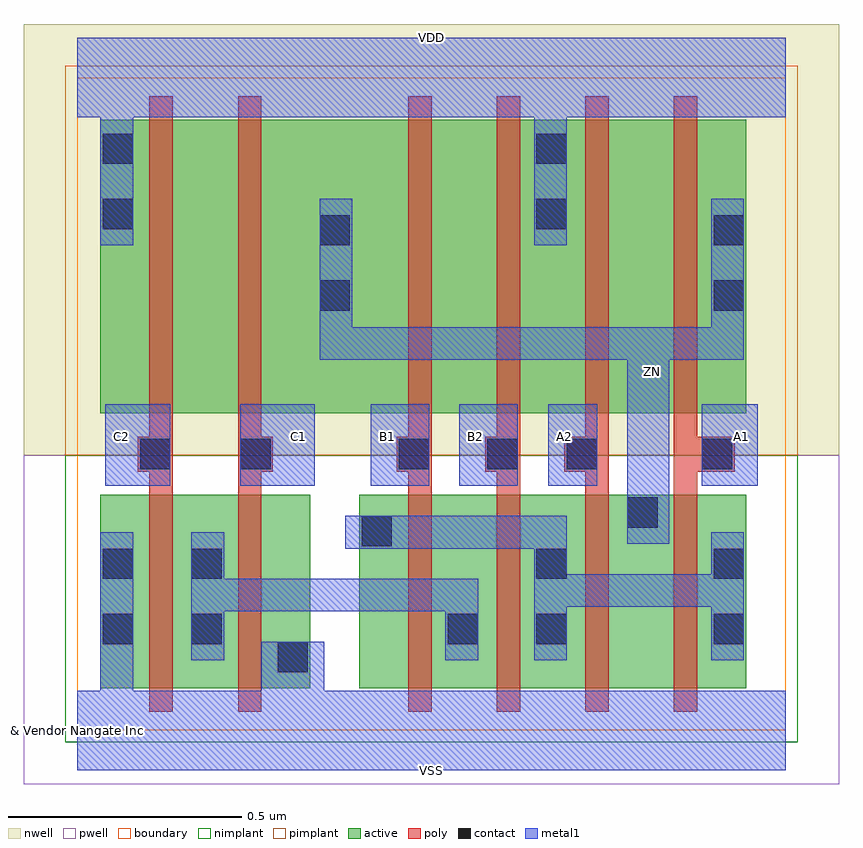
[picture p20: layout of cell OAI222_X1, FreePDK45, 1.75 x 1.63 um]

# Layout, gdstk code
import gdstk
lib = gdstk.Library(unit=1e-6, precision=1e-09)
def R(c, l, rs):  # rectangles x0, y0, x1, y1
    for r in rs: c.add(gdstk.rectangle(r[:2], r[2:], *l))
def P(c, l, *ps):  # polygons
    for p in ps: c.add(gdstk.Polygon(p, *l))
active = (1, 0)
pwell = (2, 0)
nwell = (3, 0)
nimplant = (4, 0)
pimplant = (5, 0)
poly = (9, 0)
contact = (10, 0)
metal1 = (11, 0)
boundary = (235, 0)

oai222_x1 = lib.new_cell('OAI222_X1')
R(oai222_x1, active, [(0.05,0.09,0.5,0.505), (0.605,0.09,1.435,0.505), (0.05,0.68,1.435,1.31)])
R(oai222_x1, pwell, [(-0.115,-0.115,1.635,0.59)])
R(oai222_x1, nwell, [(-0.115,0.59,1.635,1.515)])
R(oai222_x1, nimplant, [(-0.025,-0.025,1.545,0.59)])
R(oai222_x1, pimplant, [(-0.025,0.59,1.545,1.425)])
P(oai222_x1, poly, [(0.13,0.555),(0.155,0.555),(0.155,0.04),(0.205,0.04),(0.205,1.36),(0.155,1.36),(0.155,0.63),(0.13,0.63)],
  [(0.345,0.04),(0.395,0.04),(0.395,0.555),(0.42,0.555),(0.42,0.63),(0.395,0.63),(0.395,1.36),(0.345,1.36)],
  [(0.685,0.555),(0.71,0.555),(0.71,0.04),(0.76,0.04),(0.76,1.36),(0.71,1.36),(0.71,0.63),(0.685,0.63)],
  [(0.875,0.555),(0.9,0.555),(0.9,0.04),(0.95,0.04),(0.95,1.36),(0.9,1.36),(0.9,0.63),(0.875,0.63)],
  [(1.045,0.555),(1.09,0.555),(1.09,0.04),(1.14,0.04),(1.14,1.36),(1.09,1.36),(1.09,0.63),(1.045,0.63)],
  [(1.28,0.04),(1.33,0.04),(1.33,0.555),(1.41,0.555),(1.41,0.63),(1.33,0.63),(1.33,1.36),(1.28,1.36)])
R(oai222_x1, contact, [(0.43,0.125,0.495,0.19), (0.055,0.185,0.12,0.25), (0.245,0.185,0.31,0.25), (0.795,0.185,0.86,0.25), (0.985,0.185,1.05,0.25), (1.365,0.185,1.43,0.25), (0.055,0.325,0.12,0.39), (0.245,0.325,0.31,0.39), (0.985,0.325,1.05,0.39), (1.365,0.325,1.43,0.39), (0.61,0.395,0.675,0.46), (1.18,0.435,1.245,0.5), (0.135,0.56,0.2,0.625), (0.35,0.56,0.415,0.625), (0.69,0.56,0.755,0.625), (0.88,0.56,0.945,0.625), (1.05,0.56,1.115,0.625), (1.34,0.56,1.405,0.625), (0.52,0.9,0.585,0.965), (1.365,0.9,1.43,0.965), (0.52,1.04,0.585,1.105), (1.365,1.04,1.43,1.105), (0.055,1.075,0.12,1.14), (0.985,1.075,1.05,1.14), (0.055,1.215,0.12,1.28), (0.985,1.215,1.05,1.28)])
R(oai222_x1, metal1, [(0.06,0.525,0.2,0.7), (0.35,0.525,0.51,0.7), (0.63,0.525,0.755,0.7), (0.82,0.525,0.945,0.7), (1.01,0.525,1.115,0.7), (1.34,0.525,1.46,0.7)])
P(oai222_x1, metal1, [(0.245,0.15),(0.315,0.15),(0.315,0.255),(0.79,0.255),(0.79,0.15),(0.86,0.15),(0.86,0.325),(0.315,0.325),(0.315,0.425),(0.245,0.425)],
  [(0.575,0.39),(0.98,0.39),(0.98,0.15),(1.05,0.15),(1.05,0.265),(1.36,0.265),(1.36,0.15),(1.43,0.15),(1.43,0.425),(1.36,0.425),(1.36,0.335),(1.05,0.335),(1.05,0.46),(0.575,0.46)],
  [(0.52,0.795),(1.18,0.795),(1.18,0.4),(1.27,0.4),(1.27,0.795),(1.43,0.795),(1.43,1.14),(1.36,1.14),(1.36,0.865),(0.59,0.865),(0.59,1.14),(0.52,1.14)],
  [(0,-0.085),(1.52,-0.085),(1.52,0.085),(0.53,0.085),(0.53,0.19),(0.395,0.19),(0.395,0.085),(0.12,0.085),(0.12,0.425),(0.05,0.425),(0.05,0.085),(0,0.085)],
  [(0,1.315),(0.05,1.315),(0.05,1.04),(0.12,1.04),(0.12,1.315),(0.98,1.315),(0.98,1.04),(1.05,1.04),(1.05,1.315),(1.52,1.315),(1.52,1.485),(0,1.485)])
R(oai222_x1, boundary, [(0,0,1.52,1.4)])
oai222_x1.add(gdstk.Label('A1', (1.425,0.63), layer=11, texttype=0))
oai222_x1.add(gdstk.Label('A2', (1.045,0.63), layer=11, texttype=0))
oai222_x1.add(gdstk.Label('B1', (0.665,0.63), layer=11, texttype=0))
oai222_x1.add(gdstk.Label('B2', (0.855,0.63), layer=11, texttype=0))
oai222_x1.add(gdstk.Label('C1', (0.475,0.63), layer=11, texttype=0))
oai222_x1.add(gdstk.Label('C2', (0.095,0.63), layer=11, texttype=0))
oai222_x1.add(gdstk.Label('VDD', (0.76,1.485), layer=11, texttype=0))
oai222_x1.add(gdstk.Label('VSS', (0.76,-0.085), layer=11, texttype=0))
oai222_x1.add(gdstk.Label('ZN', (1.235,0.77), layer=11, texttype=0))
oai222_x1.add(gdstk.Label('& Vendor Nangate Inc', (0,0), layer=63, texttype=63))
oai222_x1.add(gdstk.Label('& Product Open Cell Library', (0,0), layer=63, texttype=63))
oai222_x1.add(gdstk.Label('& Version 2010_12', (0,0), layer=63, texttype=63))
oai222_x1.add(gdstk.Label('& Instance OAI222_X1', (0,0), layer=63, texttype=63))

lib.write_gds('OAI222_X1.gds')
